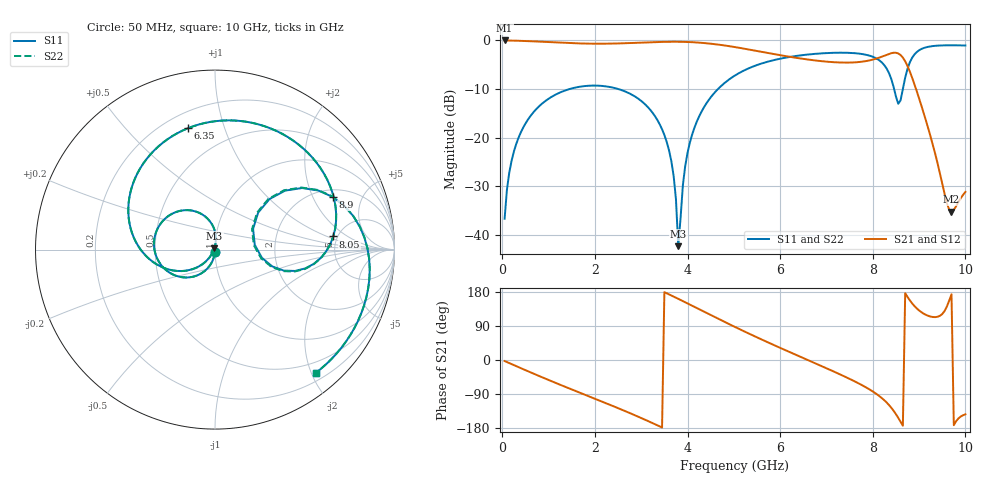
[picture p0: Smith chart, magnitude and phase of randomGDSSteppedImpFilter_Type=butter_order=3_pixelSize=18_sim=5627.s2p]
! freq	dB(S11)	phase(S11)	dB(S12)	phase(S12)
!  dB(S21)	phase(S21)	dB(S22)	phase(S22)
!S-par simulation data
#  GHz  S  DB  R 50
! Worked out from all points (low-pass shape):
!   200 points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, 50 MHz to 10 GHz, reference 50 ohm
!   highest |S21| = 0.00 dB at 50 MHz (marker M1); lowest = -35.3 dB at 9.7 GHz (marker M2)
!   |S21| within 3 dB of the highest: start of sweep to 5.982 GHz; 8.286 GHz to 8.601 GHz (314.8 MHz wide, 3.73 % of centre)
!   lowest |S11| = -42.3 dB at 3.8 GHz (marker M3), VSWR 1.02, Z = 49.6 + j0.619 ohm
!   |S11| at or under -10 dB: start of sweep to 1.453 GHz; 2.505 GHz to 4.657 GHz (2.152 GHz wide, 60.1 % of centre); 8.461 GHz to 8.65 GHz (188.7 MHz wide, 2.21 % of centre)
!   |S22| runs from -42.9 to -1.0 dB; largest |S21 - S12| = 0
!   S11 on the Smith chart (normalised r, x): 50 MHz: 1.00, -0.03; 6.35 GHz: 0.29, +0.76; 8.05 GHz: 4.60, +1.21; 8.9 GHz: 2.36, +2.86; 10 GHz: 0.32, -2.07
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0.05  -36.69 -92.9  -0.00 -2.7  -0.00 -2.7  -36.69 -92.9
0.2  -24.78 -101.2  -0.03 -10.8  -0.03 -10.8  -24.78 -101.2
0.5  -17.11 -117.2  -0.12 -26.8  -0.12 -26.8  -17.11 -117.2
1.75  -9.42 179.4  -0.64 -90.0  -0.64 -90.0  -9.42 179.4
2.55  -10.13 140.1  -0.61 -129.6  -0.61 -129.6  -10.13 140.0
3.4  -17.28 96.0  -0.31 -175.2  -0.31 -175.2  -17.28 95.8
3.7  -27.88 84.7  -0.27 167.3  -0.27 167.3  -27.90 84.0
3.8  -42.34 125.2  -0.27 161.4  -0.27 161.4  -42.87 122.6
3.9  -29.74 -126.4  -0.29 155.4  -0.29 155.4  -29.76 -125.4
4.1  -19.36 -130.9  -0.36 143.2  -0.36 143.2  -19.36 -130.6
5.05  -7.06 174.3  -1.41 85.7  -1.41 85.7  -7.06 174.4
6.35  -3.19 102.6  -3.59 13.1  -3.59 13.1  -3.19 102.6
6.7  -2.81 84.0  -4.06 -5.6  -4.06 -5.6  -2.81 84.0
7.35  -2.52 48.9  -4.55 -41.2  -4.55 -41.2  -2.53 48.9
8.05  -3.57 6.4  -3.81 -87.0  -3.81 -87.0  -3.57 6.2
8.35  -6.72 -14.9  -2.77 -118.8  -2.77 -118.8  -6.75 -15.4
8.55  -13.03 6.9  -2.68 -152.6  -2.68 -152.6  -13.24 6.6
8.75  -5.85 40.1  -5.26 166.5  -5.26 166.5  -5.89 40.7
8.9  -2.88 24.2  -9.03 142.3  -9.03 142.3  -2.89 24.5
9.2  -1.30 -3.6  -18.17 116.4  -18.17 116.4  -1.31 -3.4
9.7  -0.99 -35.1  -35.26 173.4  -35.26 173.4  -1.00 -35.0
10  -1.04 -50.8  -31.18 -143.4  -31.18 -143.4  -1.04 -50.7
